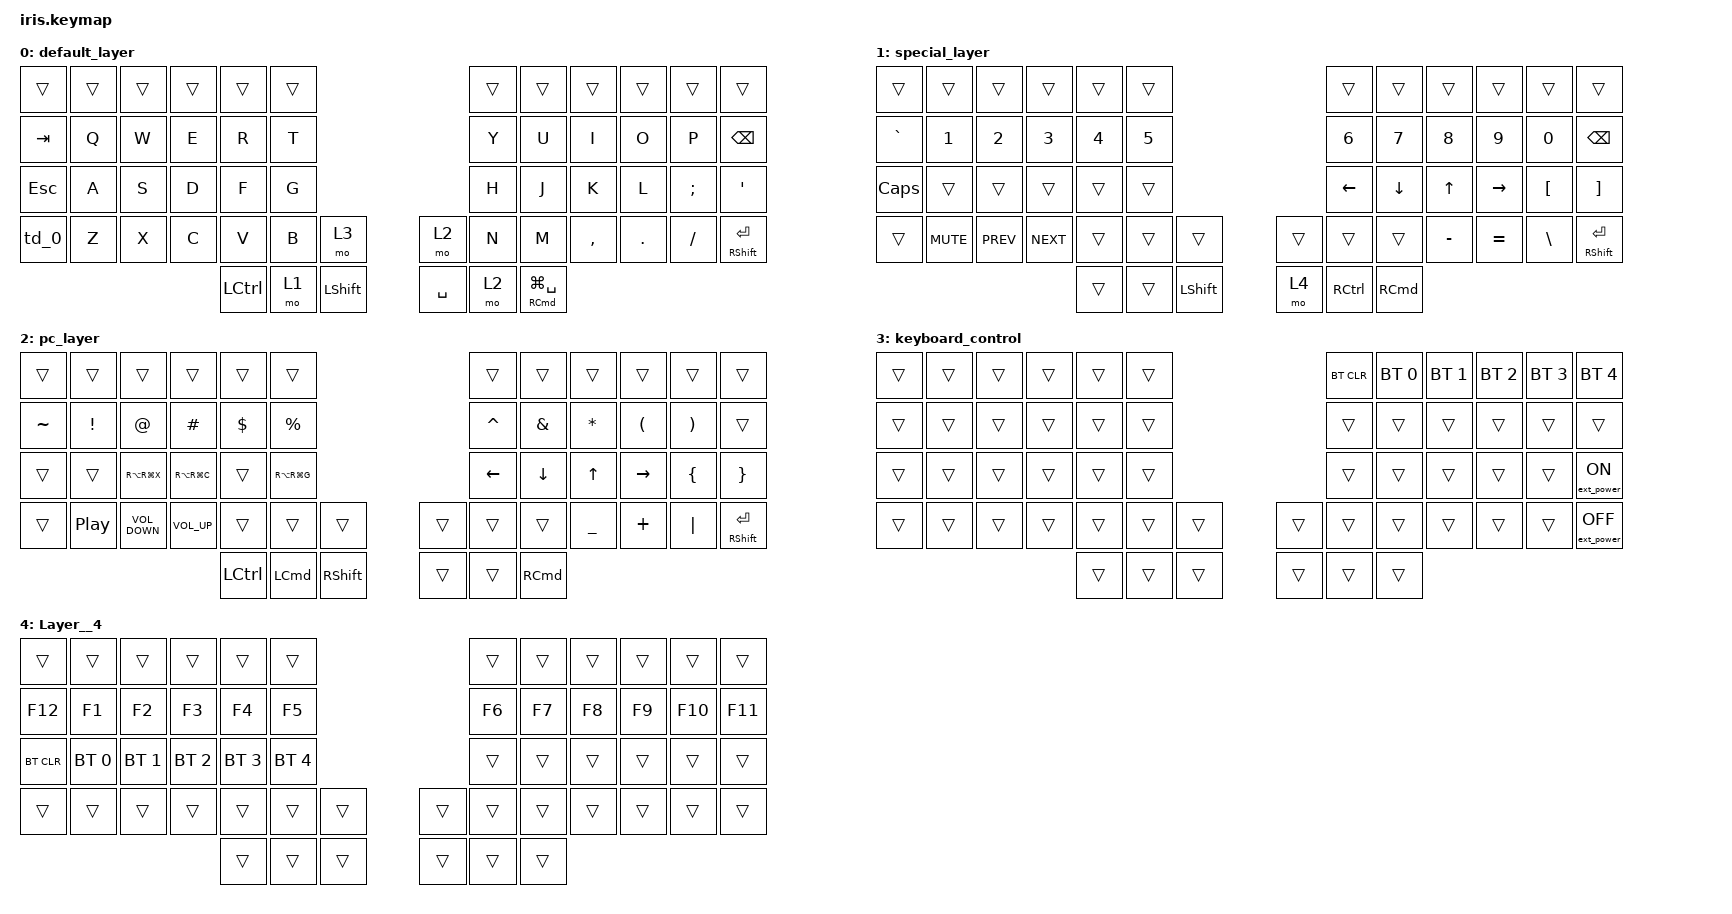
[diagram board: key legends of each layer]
/*
 * Copyright (c) 2020 The ZMK Contributors
 *
 * SPDX-License-Identifier: MIT
 */

#include <behaviors.dtsi>
#include <dt-bindings/zmk/bt.h>
#include <dt-bindings/zmk/ext_power.h>
#include <dt-bindings/zmk/keys.h>

/ {
    behaviors {
        td_0: td_0 {
            compatible = "zmk,behavior-tap-dance";
            label = "TD_0";
            #binding-cells = <0>;
            bindings =
                <&kp LEFT_ALT>,
                <&sk LEFT_ALT>;
        };
    };

    keymap {
        compatible = "zmk,keymap";

        default_layer {
            // ------------------------------------------------------------------------------------------------------------
            // |  ESC  |  1  |  2  |  3   |  4   |  5   |                   |  6   |  7    |  8    |  9   |   0   |   `   |
            // |  TAB  |  Q  |  W  |  E   |  R   |  T   |                   |  Y   |  U    |  I    |  O   |   P   |   -   |
            // |  CTRL |  A  |  S  |  D   |  F   |  G   |                   |  H   |  J    |  K    |  L   |   ;   |   '   |
            // | SHIFT |  Z  |  X  |  C   |  V   |  B   |   "["  |  |  "]"  |  N   |  M    |  ,    |  .   |   /   | SHIFT |
            //                     		  | GUI  | LOWER|  SPACE |  | ENTER | RAISE|  ALT  |

            bindings = <
 &trans  &trans  &trans            &trans  &trans          &trans                                         &trans  &trans     &trans   &trans    &trans                 &trans
&kp TAB   &kp Q   &kp W             &kp E   &kp R           &kp T                                          &kp Y   &kp U      &kp I    &kp O     &kp P          &kp BACKSPACE
&kp ESC   &kp A   &kp S             &kp D   &kp F           &kp G                                          &kp H   &kp J      &kp K    &kp L  &kp SEMI                &kp SQT
  &td_0   &kp Z   &kp X             &kp C   &kp V           &kp B      &mo 3  &mo 2                        &kp N   &kp M  &kp COMMA  &kp DOT  &kp FSLH  &mt RIGHT_SHIFT ENTER
                         &kp LEFT_CONTROL   &mo 1  &kp LEFT_SHIFT  &kp SPACE  &mo 2  &mt RIGHT_COMMAND LG(SPACE)
            >;
        };

        special_layer {
            // ------------------------------------------------------------------------------------------------------------
            // | BTCLR | BT1 | BT2 |  BT3 |  BT4 |  BT5 |                   |      |       |       |      |       |       |
            // |  F1   |  F2 |  F3 |  F4  |  F5  |  F6  |                   |  F7  |  F8   |  F9   |  F10 |  F11  |  F12  |
            // |   `   |  !  |  @  |  #   |  $   |  %   |                   |  ^   |  &    |  *    |  (   |   )   |   ~   |
            // |       |     |     |      |      |      |        |  |       |      |  _    |  +    |  {   |   }   |  "|"  |
            //                            |      |      |        |  |       |      |       |

            bindings = <
   &trans      &trans      &trans      &trans  &trans          &trans                                        &trans    &trans     &trans     &trans            &trans                 &trans
&kp GRAVE      &kp N1      &kp N2      &kp N3  &kp N4          &kp N5                                        &kp N6    &kp N7     &kp N8     &kp N9            &kp N0          &kp BACKSPACE
 &kp CAPS      &trans      &trans      &trans  &trans          &trans                                      &kp LEFT  &kp DOWN     &kp UP  &kp RIGHT  &kp LEFT_BRACKET      &kp RIGHT_BRACKET
   &trans  &kp C_MUTE  &kp C_PREV  &kp C_NEXT  &trans          &trans  &trans             &trans             &trans    &trans  &kp MINUS  &kp EQUAL     &kp BACKSLASH  &mt RIGHT_SHIFT ENTER
                                       &trans  &trans  &kp LEFT_SHIFT   &mo 4  &kp RIGHT_CONTROL  &kp RIGHT_COMMAND
            >;
        };

        pc_layer {
            // ------------------------------------------------------------------------------------------------------------
            // |       |     |     |      |      |      |                   |      |       |       |      |       |       |
            // |   `   |  1  |  2  |  3   |  4   |  5   |                   |  6   |   7   |   8   |  9   |   0   |       |
            // |   F1  |  F2 |  F3 |  F4  |  F5  |  F6  |                   |      |   <-  |   ^   |  v   |  ->   |       |
            // |   F7  |  F8 |  F9 |  F10 |  F11 |  F12 |        |  |       |  +   |   -   |   =   |  [   |   ]   |   \   |
            //                            |      |      |        |  |       |      |       |

            bindings = <
   &trans           &trans             &trans            &trans            &trans           &trans                             &trans         &trans          &trans                &trans                 &trans                 &trans
&kp TILDE  &kp EXCLAMATION             &kp AT          &kp HASH        &kp DOLLAR      &kp PERCENT                          &kp CARET  &kp AMPERSAND    &kp ASTERISK  &kp LEFT_PARENTHESIS  &kp RIGHT_PARENTHESIS                 &trans
   &trans           &trans      &kp RA(RG(X))     &kp RA(RG(C))            &trans    &kp RA(RG(G))                           &kp LEFT       &kp DOWN          &kp UP             &kp RIGHT         &kp LEFT_BRACE        &kp RIGHT_BRACE
   &trans         &kp C_PP  &kp C_VOLUME_DOWN      &kp C_VOL_UP            &trans           &trans  &trans  &trans             &trans         &trans  &kp UNDERSCORE              &kp PLUS               &kp PIPE  &mt RIGHT_SHIFT ENTER
                                               &kp LEFT_CONTROL  &kp LEFT_COMMAND  &kp RIGHT_SHIFT  &trans  &trans  &kp RIGHT_COMMAND
            >;
        };

        keyboard_control {
            bindings = <
&trans  &trans  &trans  &trans  &trans  &trans                  &bt BT_CLR  &bt BT_SEL 0  &bt BT_SEL 1  &bt BT_SEL 2  &bt BT_SEL 3       &bt BT_SEL 4
&trans  &trans  &trans  &trans  &trans  &trans                      &trans        &trans        &trans        &trans        &trans             &trans
&trans  &trans  &trans  &trans  &trans  &trans                      &trans        &trans        &trans        &trans        &trans   &ext_power EP_ON
&trans  &trans  &trans  &trans  &trans  &trans  &trans  &trans      &trans        &trans        &trans        &trans        &trans  &ext_power EP_OFF
                        &trans  &trans  &trans  &trans  &trans      &trans
            >;
        };

        Layer__4 {
            bindings = <
    &trans        &trans        &trans        &trans        &trans        &trans                  &trans  &trans  &trans  &trans   &trans   &trans
   &kp F12        &kp F1        &kp F2        &kp F3        &kp F4        &kp F5                  &kp F6  &kp F7  &kp F8  &kp F9  &kp F10  &kp F11
&bt BT_CLR  &bt BT_SEL 0  &bt BT_SEL 1  &bt BT_SEL 2  &bt BT_SEL 3  &bt BT_SEL 4                  &trans  &trans  &trans  &trans   &trans   &trans
    &trans        &trans        &trans        &trans        &trans        &trans  &trans  &trans  &trans  &trans  &trans  &trans   &trans   &trans
                                              &trans        &trans        &trans  &trans  &trans  &trans
            >;
        };
    };
};
